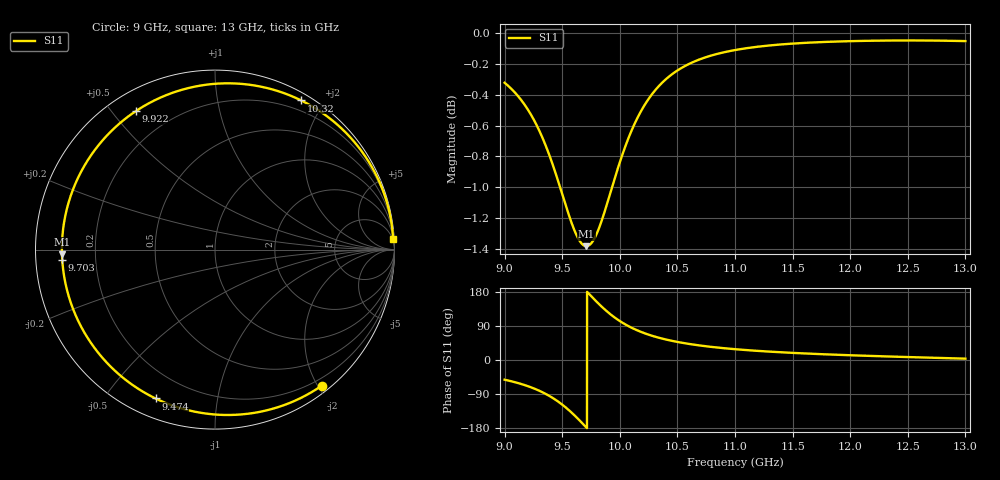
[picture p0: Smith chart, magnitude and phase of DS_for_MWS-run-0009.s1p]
! TOUCHSTONE file generated by CST DESIGN STUDIO
! Date and time: Wed Feb  5 13:43:26 2025
! Project name: C:\Work\MatlabApps\UnitCellOptimizationMatlab\CST\unitcell.cst
! Tree item: Tasks\Sweep1\SPara1\S-Parameters
! Header version: 2024
! Port assignment regex: !\s*Touchstone port\s*([0-9]+)\s*=\s*(CST MWS port|CST DES external port|CST DES block port)\s*(.+)\s* \(\"(.*)\"\)(\s*mode\s*([0-9]+))?.*
! Touchstone port assignment:
! Touchstone port 1 = CST DES external port 1 ("")
# GHz S MA R 50
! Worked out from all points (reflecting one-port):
!   4001 points, 9 GHz to 13 GHz, reference 50 ohm
!   lowest |S11| = -1.4 dB at 9.71 GHz (marker M1), VSWR 12.60, Z = 3.97 - j0.774 ohm
!   phase of S11 starts at -52 deg and turns -304 deg over the sweep
!   S11 on the Smith chart (normalised r, x): 9 GHz: 0.10, -2.05; 9.474 GHz: 0.08, -0.67; 9.703 GHz: 0.08, -0.03; 9.922 GHz: 0.08, +0.58; 10.32 GHz: 0.08, +1.73; 13 GHz: 3, +32
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9  0.9635 -52.0
9.127  0.9529 -61.7
9.248  0.9381 -74.3
9.375  0.9157 -92.5
9.427  0.9043 -102.0
9.474  0.8932 -111.8
9.5  0.8868 -117.7
9.548  0.8753 -129.7
9.595  0.8652 -142.7
9.652  0.8563 -159.8
9.703  0.853 -176.0
9.71  0.853 -178.2
9.755  0.8551 167.4
9.802  0.8613 152.8
9.863  0.874 135.1
9.922  0.8886 119.9
10  0.908 102.8
10.071  0.9237 90.0
10.157  0.9392 77.5
10.237  0.9504 68.2
10.324  0.9598 60.0
10.5  0.9724 47.7
10.718  0.9812 37.4
11  0.9873 28.5
11.5  0.9921 18.8
12  0.9939 12.5
12.5  0.9944 7.7
13  0.9939 3.5
